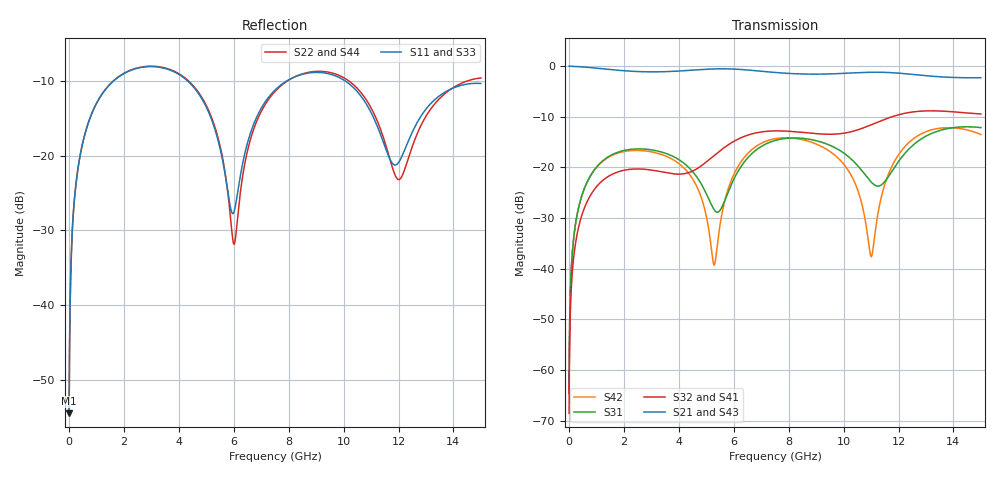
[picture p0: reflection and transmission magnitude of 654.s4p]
! Created with skrf 1.8.0 (http://scikit-rf.org).
# GHz S RI R 50.0
!freq ReS11 ImS11 ReS12 ImS12 ReS13 ImS13
! ReS14 ImS14
! ReS21 ImS21 ReS22 ImS22 ReS23 ImS23
! ReS24 ImS24
! ReS31 ImS31 ReS32 ImS32 ReS33 ImS33
! ReS34 ImS34
! ReS41 ImS41 ReS42 ImS42 ReS43 ImS43
! ReS44 ImS44
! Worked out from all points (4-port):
!   2499 points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, 5 MHz to 15 GHz, reference 50 ohm
!   strongest paths, dB at 5 MHz, 3.476 GHz, 7.19 GHz, 11.1 GHz, 15 GHz:
!     S21: 0.0, -1.1, -1.1, -1.2, -2.3
!     S43: 0.0, -1.1, -1.1, -1.2, -2.3
!     S32: -68.6, -21.0, -12.9, -11.4, -9.5
!     S41: -68.6, -21.0, -12.9, -11.4, -9.6
!     S31: -64.7, -17.1, -15.3, -23.4, -12.2
!     S42: -64.7, -17.7, -14.8, -35.0, -13.5
!   lowest |S11| = -54.5 dB at 5 MHz (marker M1), VSWR 1.00, Z = 50.2 + j0.115 ohm
!   |S11| at or under -10 dB: start of sweep to 1.619 GHz; 4.324 GHz to 7.924 GHz (3.6 GHz wide, 58.8 % of centre); 10.06 GHz to end of sweep
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0.005  0.0015 0.00114  0.9985 -0.00293  7.45e-05 0.000579  -7.24e-05 -0.000365
       0.9985 -0.00293  0.0015 0.00114  -7.24e-05 -0.000365  7.44e-05 0.000579
       7.45e-05 0.000579  -7.24e-05 -0.000365  0.0015 0.00114  0.9985 -0.00293
       -7.24e-05 -0.000365  7.44e-05 0.000579  0.9985 -0.00293  0.0015 0.00114
0.3126303  0.0207 0.0758  0.9718 -0.1826  0.0094 0.0346  -0.00764 -0.0218
           0.9718 -0.1826  0.0208 0.0758  -0.00765 -0.0218  0.00888 0.0348
           0.0094 0.0346  -0.00765 -0.0218  0.0207 0.0758  0.9718 -0.1826
           -0.00764 -0.0218  0.00888 0.0348  0.9718 -0.1826  0.0208 0.0758
1.519383  0.237 0.1903  0.6173 -0.6873  0.1152 0.063  -0.0821 -0.017
          0.6173 -0.6873  0.239 0.1892  -0.0822 -0.0169  0.1081 0.071
          0.1152 0.063  -0.0822 -0.0169  0.2369 0.1904  0.6173 -0.6873
          -0.0821 -0.017  0.1081 0.071  0.6173 -0.6873  0.2391 0.1892
5.789912  0.0426 -0.0375  -0.9257 -0.1559  -0.0302 0.0478  -0.0268 0.1641
          -0.9257 -0.1559  0.028 -0.0481  -0.0247 0.1645  0.0125 0.0592
          -0.0302 0.0478  -0.0247 0.1645  0.0422 -0.0385  -0.9257 -0.156
          -0.0268 0.1641  0.0125 0.0592  -0.9257 -0.156  0.0288 -0.0487
9.341392  0.354 -0.0474  0.0334 0.8344  0.1344 -0.1072  0.1992 -0.0681
          0.0334 0.8344  0.3618 -0.0486  0.1994 -0.0739  0.138 -0.0661
          0.1344 -0.1072  0.1994 -0.0739  0.3531 -0.0438  0.0342 0.8344
          0.1992 -0.0681  0.138 -0.0661  0.0342 0.8344  0.3624 -0.0527
11.00459  0.1464 -0.1272  0.6752 0.5474  -0.0538 -0.0474  0.1631 -0.2066
          0.6752 0.5474  0.1453 -0.1494  0.1563 -0.2118  -0.0121 -0.00507
          -0.0538 -0.0474  0.1563 -0.2118  0.1495 -0.1241  0.6762 0.5463
          0.1631 -0.2066  -0.0121 -0.00507  0.6762 0.5463  0.1417 -0.1517
15  0.3038 -0.021  0.1841 -0.746  0.2147 -0.1218  -0.333 0.00123
    0.1841 -0.746  0.3314 -0.00933  -0.3364 0.0134  0.2078 -0.0371
    0.2147 -0.1218  -0.3364 0.0134  0.3054 -0.0171  0.1809 -0.7447
    -0.333 0.00123  0.2078 -0.0371  0.1809 -0.7447  0.3402 -0.0124
